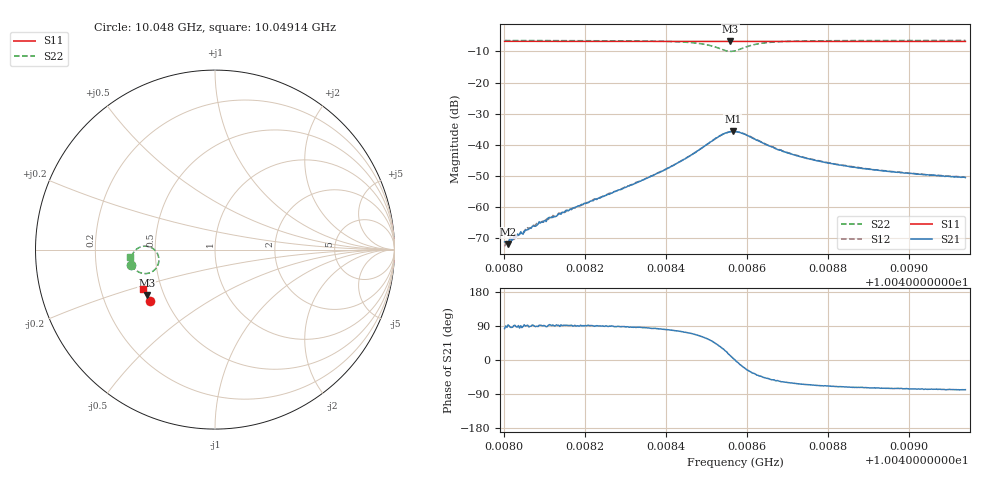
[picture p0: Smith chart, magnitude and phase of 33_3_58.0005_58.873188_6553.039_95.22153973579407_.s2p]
#  HZ  S  RI  R  50.00
! Rohde & Schwarz Vector Network Analyzer
! Rohde-Schwarz,ZNB20-2Port,1311601062101988,3.16
! Created: UTC 3/21/2024, 12:51:46 AM
! freq[Hz]  re:S11  im:S11  re:S21  im:S21  re:S12  im:S12  re:S22  im:S22
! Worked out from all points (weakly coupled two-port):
!   401 points, 10.048 GHz to 10.04914 GHz, reference 50 ohm
!   highest |S21| = -35.72 dB at 10.04857 GHz (marker M1); lowest = -72.0 dB at 10.04801 GHz (marker M2)
!   lowest |S11| = -6.8 dB at 10.04856 GHz (marker M3), VSWR 2.68, Z = 20.1 - j12.8 ohm
!   |S11| at or under -10 dB: nowhere
!   |S22| runs from -10.0 to -6.5 dB; largest |S21 - S12| = 0.0014
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1.0048002e10  -0.3611 -0.2844  3.39e-05 0.000271  1.87e-05 0.000232  -0.4665 -0.0846
1.004801e10  -0.3614 -0.2838  -1.19e-05 0.000251  -2.09e-05 0.000284  -0.4666 -0.0837
1.0048039e10  -0.3624 -0.2821  3.62e-05 0.000357  -2.53e-05 0.000367  -0.4668 -0.081
1.0048079e10  -0.364 -0.2801  1.62e-05 0.000488  -2.54e-05 0.000517  -0.4672 -0.0771
1.0048113e10  -0.3654 -0.2783  -4.1e-05 0.000675  -5.88e-05 0.000663  -0.4675 -0.0733
1.0048127e10  -0.3659 -0.2776  1.58e-06 0.000696  -4.24e-05 0.000703  -0.4674 -0.0718
1.0048192e10  -0.3684 -0.2739  1.05e-06 0.0011  -8.84e-05 0.00106  -0.4675 -0.064
1.0048295e10  -0.3724 -0.2682  5.69e-05 0.00199  -6.27e-05 0.00201  -0.4659 -0.0486
1.0048383e10  -0.3756 -0.2632  0.000492 0.00351  0.000292 0.00356  -0.4604 -0.0289
1.0048454e10  -0.3782 -0.2589  0.00195 0.00598  0.00161 0.00613  -0.4426 -0.00263
1.0048514e10  -0.3798 -0.2552  0.00734 0.0087  0.00688 0.00912  -0.3861 0.0191
1.004854e10  -0.3801 -0.2537  0.0126 0.00741  0.0121 0.00827  -0.3392 0.000915
1.004856e10  -0.3803 -0.2529  0.0159 0.00312  0.0156 0.00428  -0.3139 -0.043
1.0048565e10  -0.3804 -0.2529  0.0163 0.00152  0.0161 0.00279  -0.3125 -0.0587
1.0048571e10  -0.3806 -0.2529  0.0162 3.87e-05  0.0162 0.00108  -0.3144 -0.0739
1.0048599e10  -0.382 -0.2518  0.0128 -0.00603  0.0135 -0.00504  -0.354 -0.1253
1.0048639e10  -0.3838 -0.2497  0.00752 -0.00757  0.00814 -0.00697  -0.4096 -0.1309
1.0048693e10  -0.3861 -0.2467  0.00401 -0.00653  0.00448 -0.00632  -0.4429 -0.1125
1.0048762e10  -0.3886 -0.2428  0.00233 -0.00527  0.00268 -0.00516  -0.4579 -0.0929
1.0048858e10  -0.3919 -0.237  0.00136 -0.00417  0.00166 -0.00414  -0.4659 -0.0745
1.0048952e10  -0.395 -0.2317  0.00097 -0.00359  0.00118 -0.00354  -0.4695 -0.0618
1.004914e10  -0.4009 -0.2207  0.000599 -0.00289  0.000779 -0.00291  -0.4726 -0.0426
